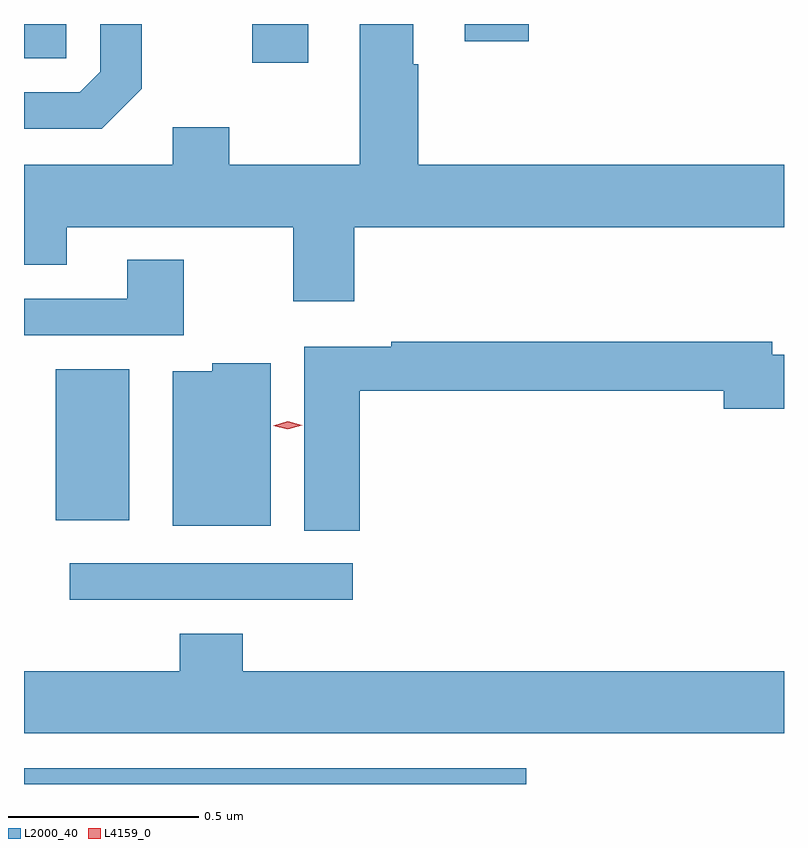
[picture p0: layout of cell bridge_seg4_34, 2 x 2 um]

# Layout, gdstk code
import gdstk
lib = gdstk.Library(unit=1e-6, precision=1e-09)
def R(c, l, rs):  # rectangles x0, y0, x1, y1
    for r in rs: c.add(gdstk.rectangle(r[:2], r[2:], *l))
def P(c, l, *ps):  # polygons
    for p in ps: c.add(gdstk.Polygon(p, *l))
L2000_40 = (2000, 40)
L4159_0 = (4159, 0)

bridge_seg4_34 = lib.new_cell('bridge_seg4_34')
R(bridge_seg4_34, L2000_40, [(688.977,784.699,690.299,784.74), (689.097,785.184,689.842,785.28), (689.06,785.393,689.254,785.791), (689.577,786.597,689.725,786.699), (688.977,786.609,689.088,786.699), (690.137,786.654,690.305,786.699)])
P(bridge_seg4_34, L2000_40, [(689.846,786.164),(690.977,786.164),(690.977,786.328),(690.014,786.328),(690.014,786.593),(690.001,786.593),(690.001,786.699),(689.861,786.699),(689.861,786.328),(689.517,786.328),(689.517,786.427),(689.369,786.427),(689.369,786.328),(688.977,786.328),(688.977,786.065),(689.089,786.065),(689.089,786.164),(689.686,786.164),(689.686,785.97),(689.846,785.97)],
  [(689.287,786.529),(689.287,786.699),(689.178,786.699),(689.178,786.573),(689.124,786.519),(688.977,786.519),(688.977,786.423),(689.181,786.423)],
  [(689.397,786.079),(689.249,786.079),(689.249,785.976),(688.977,785.976),(688.977,785.88),(689.397,785.88)],
  [(689.861,785.734),(690.818,785.734),(690.818,785.687),(690.977,785.687),(690.977,785.829),(690.946,785.829),(690.946,785.863),(689.944,785.863),(689.944,785.85),(689.714,785.85),(689.714,785.365),(689.861,785.365)],
  [(689.626,785.806),(689.472,785.806),(689.472,785.785),(689.369,785.785),(689.369,785.378),(689.626,785.378)],
  [(690.977,784.996),(689.552,784.996),(689.552,785.095),(689.387,785.095),(689.387,784.996),(688.977,784.996),(688.977,784.832),(690.977,784.832)])
P(bridge_seg4_34, L4159_0, [(689.671,785.633),(689.633,785.642),(689.633,785.642),(689.633,785.642),(689.671,785.653),(689.709,785.643),(689.709,785.643),(689.709,785.643)])

lib.write_gds('bridge_seg4_34.gds')
